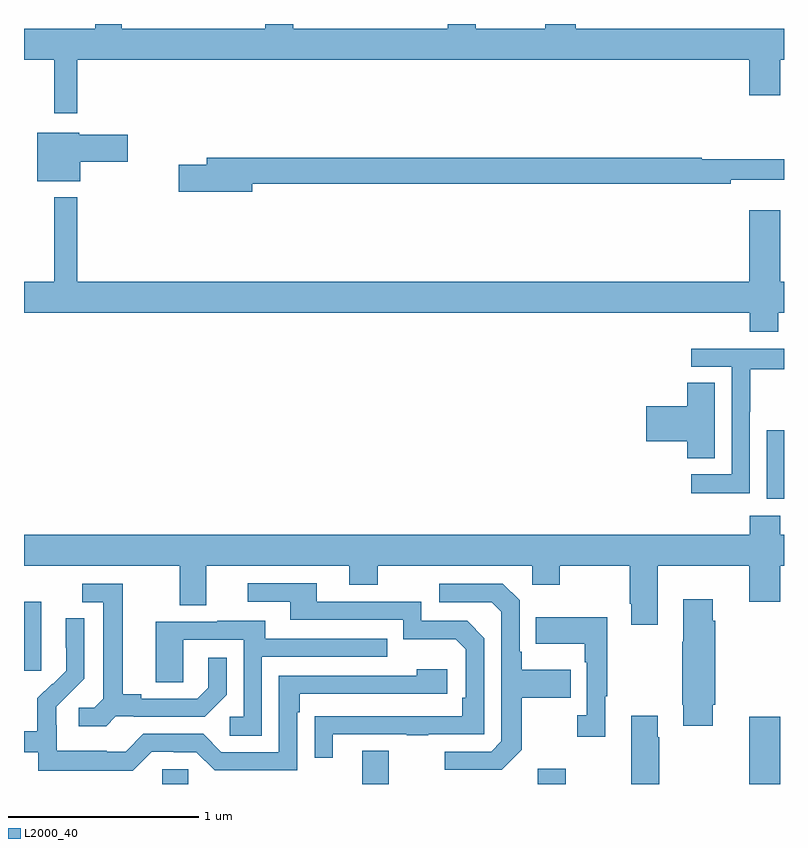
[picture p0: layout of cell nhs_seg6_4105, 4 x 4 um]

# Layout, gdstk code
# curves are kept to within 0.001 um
import gdstk
lib = gdstk.Library(unit=1e-6, precision=1e-09)
def R(c, l, rs):  # rectangles x0, y0, x1, y1
    for r in rs: c.add(gdstk.rectangle(r[:2], r[2:], *l))
def P(c, l, *ps):  # polygons
    for p in ps: c.add(gdstk.Polygon(p, *l))
L2000_40 = (2000, 40)

nhs_seg6_4105 = lib.new_cell('nhs_seg6_4105')
R(nhs_seg6_4105, L2000_40, [(353.727,967.5,353.865,967.578), (354.779,967.5,354.919,967.675), (355.703,967.5,355.851,967.579), (356.816,967.5,356.98,967.855), (353,968.097,353.092,968.458), (356.909,969.002,357,969.363)])
P(nhs_seg6_4105, L2000_40, [(353.281,971.312),(356.816,971.312),(356.816,971.124),(356.98,971.124),(356.98,971.312),(357,971.312),(357,971.476),(355.904,971.476),(355.904,971.5),(355.744,971.5),(355.744,971.476),(355.377,971.476),(355.377,971.5),(355.23,971.5),(355.23,971.476),(354.417,971.476),(354.417,971.5),(354.269,971.5),(354.269,971.476),(353.515,971.476),(353.515,971.5),(353.375,971.5),(353.375,971.476),(353,971.476),(353,971.312),(353.159,971.312),(353.159,971.031),(353.281,971.031)],
  [(353.296,970.775),(353.545,970.775),(353.545,970.917),(353.292,970.917),(353.292,970.927),(353.069,970.927),(353.069,970.673),(353.296,970.673)],
  [(354.202,970.66),(356.72,970.66),(356.72,970.679),(357,970.679),(357,970.789),(356.567,970.789),(356.567,970.796),(353.963,970.796),(353.963,970.76),(353.814,970.76),(353.814,970.618),(354.202,970.618)],
  [(356.971,969.98),(357,969.98),(357,970.144),(356.98,970.144),(356.98,970.519),(356.816,970.519),(356.816,970.144),(353.281,970.144),(353.281,970.588),(353.159,970.588),(353.159,970.144),(353,970.144),(353,969.98),(356.819,969.98),(356.819,969.881),(356.971,969.881)],
  [(356.82,969.46),(356.823,969.46),(356.823,969.684),(357,969.684),(357,969.792),(356.511,969.792),(356.511,969.696),(356.724,969.696),(356.724,969.129),(356.511,969.129),(356.511,969.031),(356.82,969.031)],
  [(356.635,969.611),(356.492,969.611),(356.492,969.488),(356.274,969.488),(356.274,969.305),(356.492,969.305),(356.492,969.214),(356.635,969.214)],
  [(356.335,968.648),(356.816,968.648),(356.816,968.46),(356.98,968.46),(356.98,968.648),(357,968.648),(357,968.812),(356.979,968.812),(356.979,968.911),(356.819,968.911),(356.819,968.812),(353,968.812),(353,968.648),(353.819,968.648),(353.819,968.44),(353.959,968.44),(353.959,968.648),(354.713,968.648),(354.713,968.549),(354.861,968.549),(354.861,968.648),(355.674,968.648),(355.674,968.549),(355.821,968.549),(355.821,968.648),(356.188,968.648),(356.188,968.449),(356.195,968.449),(356.195,968.337),(356.335,968.337)],
  [(354.625,967.761),(355.015,967.761),(355.015,967.756),(355.127,967.756),(355.127,967.761),(355.422,967.761),(355.422,968.268),(355.332,968.358),(355.092,968.358),(355.092,968.46),(354.541,968.46),(354.541,968.556),(354.177,968.556),(354.177,968.46),(354.401,968.46),(354.401,968.364),(354.996,968.364),(354.996,968.261),(355.273,968.261),(355.326,968.208),(355.326,967.954),(355.306,967.954),(355.306,967.857),(354.529,967.856),(354.529,967.638),(354.625,967.638)],
  [(355.621,967.681),(355.621,967.954),(355.877,967.954),(355.877,968.101),(355.621,968.101),(355.621,968.197),(355.608,968.197),(355.608,968.466),(355.521,968.553),(355.185,968.553),(355.185,968.457),(355.461,968.457),(355.512,968.406),(355.512,967.725),(355.458,967.671),(355.215,967.671),(355.215,967.575),(355.515,967.575)],
  [(353.484,967.857),(353.578,967.857),(353.578,967.854),(353.95,967.854),(354.066,967.97),(354.066,968.164),(353.969,968.164),(353.969,968.007),(353.912,967.95),(353.617,967.95),(353.617,967.973),(353.521,967.973),(353.521,968.553),(353.307,968.553),(353.307,968.457),(353.417,968.457),(353.417,967.949),(353.37,967.902),(353.289,967.902),(353.289,967.805),(353.432,967.805)],
  [(356.626,967.918),(356.639,967.918),(356.639,968.36),(356.626,968.36),(356.626,968.473),(356.471,968.473),(356.471,968.249),(356.464,968.249),(356.464,967.918),(356.471,967.918),(356.471,967.806),(356.626,967.806)],
  [(356.059,967.961),(356.071,967.961),(356.071,968.377),(355.693,968.377),(355.693,968.237),(355.95,968.237),(355.95,968.141),(355.962,968.141),(355.962,967.862),(355.911,967.862),(355.911,967.749),(356.059,967.749)],
  [(353.673,967.671),(353.789,967.671),(353.789,967.668),(353.907,967.668),(354.003,967.572),(354.438,967.572),(354.438,967.877),(354.451,967.877),(354.451,967.974),(355.228,967.974),(355.228,968.104),(355.067,968.104),(355.067,968.07),(354.342,968.07),(354.342,967.668),(354.039,967.668),(353.943,967.764),(353.628,967.764),(353.535,967.671),(353.435,967.671),(353.435,967.675),(353.172,967.675),(353.172,967.809),(353.17,967.809),(353.17,967.906),(353.316,968.054),(353.316,968.372),(353.22,968.372),(353.22,968.218),(353.222,968.218),(353.222,968.096),(353.151,968.025),(353.148,968.028),(353.071,967.951),(353.071,967.777),(353,967.777),(353,967.668),(353.076,967.668),(353.076,967.571),(353.573,967.571)],
  [(354.252,968.169),(354.911,968.169),(354.911,968.265),(354.271,968.265),(354.271,968.359),(354.017,968.359),(354.017,968.355),(353.693,968.355),(353.693,968.035),(353.838,968.035),(353.838,968.259),(354.156,968.259),(354.156,967.854),(354.084,967.854),(354.084,967.753),(354.252,967.753)],
  [(356.343,967.745),(356.335,967.745),(356.335,967.858),(356.195,967.858),(356.195,967.5),(356.343,967.5)])

lib.write_gds('nhs_seg6_4105.gds')
